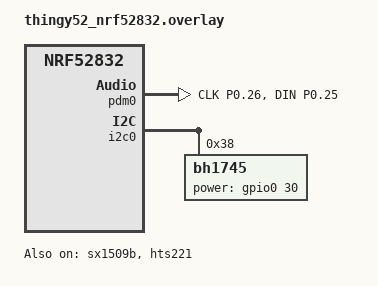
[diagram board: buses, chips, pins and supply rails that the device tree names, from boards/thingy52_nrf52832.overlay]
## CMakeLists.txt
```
# SPDX-License-Identifier: Apache-2.0

cmake_minimum_required(VERSION 3.20.0)
find_package(Zephyr REQUIRED HINTS $ENV{ZEPHYR_BASE})
project(thingy52_sensornode)

target_sources(app PRIVATE src/main.c)
```

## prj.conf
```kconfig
CONFIG_AUDIO=y
CONFIG_AUDIO_DMIC=y
CONFIG_AUDIO_DMIC_NRFX_PDM=y

CONFIG_GPIO=y

CONFIG_LOG=y
CONFIG_USE_SEGGER_RTT=y
CONFIG_RTT_CONSOLE=y
CONFIG_CONSOLE=y
CONFIG_LOG_BACKEND_RTT=y
CONFIG_PRINTK=y

CONFIG_BT=y
CONFIG_BT_CENTRAL=y
CONFIG_BT_SMP=n
CONFIG_BT_GATT_CLIENT=n

# Active scanning
CONFIG_BT_OBSERVER=y

# Enable broadcasting
CONFIG_BT_BROADCASTER=y

CONFIG_BT_MAX_CONN=1
CONFIG_BT_PERIPHERAL=y
CONFIG_BT_DEVICE_NAME="Thingy_node"

CONFIG_SENSOR=y
CONFIG_HTS221=y
CONFIG_I2C=y
```

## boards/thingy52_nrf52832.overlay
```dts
&pinctrl {
	pdm0_default_alt: pdm0_default_alt {
		group1 {
			psels = <NRF_PSEL(PDM_CLK, 0, 26)>,
				<NRF_PSEL(PDM_DIN, 0, 25)>;
		};
	};
};

dmic_dev: &pdm0 {
	status = "okay";
	pinctrl-0 = <&pdm0_default_alt>;
	pinctrl-names = "default";
};


&i2c0 {
    bh1745: bh1745@38 {
        reg = <0x38>;
        power-gpios = <&gpio0 30 GPIO_ACTIVE_HIGH>;
        label = "BH1745";
        status = "okay";
    };
};

&sx1509b {
    status = "okay";
};

&gpio0 {
    status = "okay";
};


&hts221 {
    status = "okay";
};



/ {
    aliases {
        temphum = &hts221;	
    };
};
```

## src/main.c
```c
/*
Clap detection using Thingy52 PDM mic
*/

#include <stdlib.h>
#include <math.h>
#include <zephyr/device.h>
#include <zephyr/kernel.h>
#include <zephyr/audio/dmic.h>
#include <zephyr/drivers/gpio.h>
#include <zephyr/logging/log.h>
#include <zephyr/bluetooth/bluetooth.h>
#include <zephyr/bluetooth/hci.h>
#include <zephyr/sys/byteorder.h>
#include <zephyr/drivers/sensor.h>
#include <zephyr/shell/shell.h>
#include <zephyr/drivers/i2c.h>
#include <zephyr/sys/printk.h>

LOG_MODULE_REGISTER(dmic_sample);

#define MAX_SAMPLE_RATE  16000
#define SAMPLE_BIT_WIDTH 16
#define BYTES_PER_SAMPLE sizeof(int16_t)
#define READ_TIMEOUT     1000

// alias for temp sensor
#define HTS221_NODE DT_ALIAS(temphum)
const struct device *hts221_dev = DEVICE_DT_GET(HTS221_NODE);

// Block size for DMIC
#define BLOCK_SIZE(_sample_rate, _number_of_channels) \
	(BYTES_PER_SAMPLE * (_sample_rate / 10) * _number_of_channels)

// Slabs for DMIC
#define MAX_BLOCK_SIZE   BLOCK_SIZE(MAX_SAMPLE_RATE, 2)
#define BLOCK_COUNT      4
K_MEM_SLAB_DEFINE_STATIC(mem_slab, MAX_BLOCK_SIZE, BLOCK_COUNT, 4);

#define LED0_NODE DT_ALIAS(led0)
// Set up LED for debugging
static const struct gpio_dt_spec led = GPIO_DT_SPEC_GET(LED0_NODE, gpios);

// BLE Advertising Thread
volatile int sensor_state = 1;             
volatile bool packet_received = false; 

// Constants for BLE
#define UUID_OFFSET 4
#define MAJOR_OFFSET 20
#define MINOR_OFFSET 22
#define TX_POWER_OFFSET 24
#define IBEACON_EXPECTED_LEN 25

// Constants for light sensor
#define I2C_ADDRESS 0x38
#define LIGHT_WHITE 0x56
#define LIGHT_SYS_CTRL 0x40
#define LIGHT_MODECTL1 0x41

const struct device *bh1745 = DEVICE_DT_GET(DT_NODELABEL(i2c0));

#define STACK_SIZE 2048
#define PRIORITY_CLAP 1
#define PRIORITY_TEMP 3
#define PRIORITY_BLE 3
#define PRIORITY_LIGHT 3

struct values {
	uint16_t temp;
	uint8_t clap;
	uint16_t light;
};

struct values shared_data = {0};
struct k_mutex data_lock;

K_THREAD_STACK_DEFINE(clap_stack, STACK_SIZE);
K_THREAD_STACK_DEFINE(temp_stack, STACK_SIZE);
K_THREAD_STACK_DEFINE(ble_stack, STACK_SIZE);
K_THREAD_STACK_DEFINE(light_stack, STACK_SIZE);

static struct k_thread clap_thread_data;
static struct k_thread temp_thread_data;
static struct k_thread ble_thread_data;
static struct k_thread light_thread_data;

static int do_pdm_transfer(const struct device *dmic_dev,
			   struct dmic_cfg *cfg,
			   size_t block_count)
{
	int ret;

	ret = dmic_configure(dmic_dev, cfg);
	if (ret < 0) {
		LOG_ERR("Failed to configure the driver: %d", ret);
		return ret;
	}

	ret = dmic_trigger(dmic_dev, DMIC_TRIGGER_START);
	if (ret < 0) {
		LOG_ERR("START trigger failed: %d", ret);
		return ret;
	}

	for (int i = 0; i < block_count; ++i) {
		void *buffer;
		uint32_t size;
		
		// Toggle LED for debugging
		//gpio_pin_toggle_dt(&led);

		// Read PDM values
		ret = dmic_read(dmic_dev, 0, &buffer, &size, READ_TIMEOUT);
		if (ret < 0) {
			LOG_ERR("%d - read failed: %d", i, ret);
			return ret;
		}

		// Toggle LED for debugging 
		//gpio_pin_toggle_dt(&led);

		// Convert PDM values to PCM values
		int16_t *samples = (int16_t *)buffer;
		size_t sample_count = size / sizeof(int16_t);

		// Detect clap
		for (size_t i = 0; i < sample_count; ++i) {
			if ((abs(samples[i]) > 10000) && (i != 32) && (i != 0)) {
				LOG_INF("Clap at sample %d", i);
				// update clap
				k_mutex_lock(&data_lock, K_FOREVER);
				if (shared_data.clap) {
					shared_data.clap = 0;
				} else {
					shared_data.clap = 1;
					printk("clapp detected and changed");
				}
				k_mutex_unlock(&data_lock);
				break;
			}
		}

		// Provide time for memory to be freed
		k_msleep(100);

		k_mem_slab_free(&mem_slab, buffer);
	}

	ret = dmic_trigger(dmic_dev, DMIC_TRIGGER_STOP);
	if (ret < 0) {
		LOG_ERR("STOP trigger failed: %d", ret);
		return ret;
	}

	return ret;
}

void read_temperature(struct values *data)
{
	struct sensor_value temp_val;

	if (!device_is_ready(hts221_dev)) {
		LOG_ERR("HTS221 temperature sensor not ready");
		return;
	}

	if (sensor_sample_fetch(hts221_dev) == 0 &&
		sensor_channel_get(hts221_dev, SENSOR_CHAN_AMBIENT_TEMP, &temp_val) == 0) {

		data->temp = (uint16_t)(sensor_value_to_double(&temp_val) * 100);
	}
}

static void advertise_thingy(struct values data) {
    uint8_t beacon_data[] = {
        0x4C, 0x00, 0x02, 0x15,                         // Apple iBeacon prefix
        0x19, 0xEE, 0x15, 0x16, 0x01, 0x6B, 0x4B, 0xEC, // UUID part 1 (example)
        0xAD, 0x96, 0xBC, 0xB9, 0x6D, 0x16, 0x6E, 0x97, // UUID part 2 (example)
        0x00, 0x00, 0x00, 0x00,                         // Major / Minor placeholder
        0xC8                                            // TX Power (example value)
    };

	printk("Packing BLE Data - Temp: %d, Clap Detected: %d\n",
       data.temp, data.clap);

	sys_put_be16(data.temp, &beacon_data[MAJOR_OFFSET]);
	sys_put_be16(data.clap, &beacon_data[MINOR_OFFSET]);
	beacon_data[TX_POWER_OFFSET] = (uint8_t)data.light;

    struct bt_data ad[] = {
        BT_DATA_BYTES(BT_DATA_FLAGS, BT_LE_AD_NO_BREDR),
        BT_DATA(BT_DATA_MANUFACTURER_DATA, beacon_data, sizeof(beacon_data)),
    };

    bt_le_adv_stop();
    int err = bt_le_adv_start(BT_LE_ADV_NCONN, ad, ARRAY_SIZE(ad), NULL, 0);

	if (err) {
		printk("Advertising failed: %d\n", err);
	} else {
		//printk("[ADVERTISING] iBeacon Payload (%d bytes): ", sizeof(beacon_data));
		// for (int i = 0; i < sizeof(beacon_data); i++) {
		// 	printk("%02X ", beacon_data[i]);
		// }
		printk("\n");
	}

	k_mutex_lock(&data_lock, K_FOREVER);
	shared_data.clap = 0;
	k_mutex_unlock(&data_lock);

    k_sleep(K_MSEC(70));
    bt_le_adv_stop();
}

static bool receive_nrf_sensor_state(struct bt_data *data, void *user_data) {
    static const uint8_t expected_uuid[16] = {
        0x18, 0xEE, 0x15, 0x16, 0x01, 0x6B, 0x4B, 0xEC,
        0xAD, 0x96, 0xBC, 0xB9, 0x6D, 0x16, 0x6E, 0x97
    };

    if (data->type != BT_DATA_MANUFACTURER_DATA || data->data_len < IBEACON_EXPECTED_LEN)
        return true;

    const uint8_t *payload = data->data;

    if (!(payload[0] == 0x4C && payload[1] == 0x00 && payload[2] == 0x02 && payload[3] == 0x15))
        return true;

    if (memcmp(&payload[4], expected_uuid, 16) != 0)
        return true;

    // A matching packet was received
    packet_received = true;

    // Update sensor_state from payload
    sensor_state = payload[MAJOR_OFFSET + 1];
    //printk("Received BLE packet. Sensor state: %d\n", sensor_state);
	// Toggle LED for debugging
	gpio_pin_toggle_dt(&led);

    return false;  // Stop parsing further
}



// Clap Detection Thread
void clap_thread_fn(void *dmic_dev_ptr, void *cfg_ptr, void *unused) {
    const struct device *dmic_dev = dmic_dev_ptr;
    struct dmic_cfg *cfg = cfg_ptr;

    while (1) {

        if (!(do_pdm_transfer(dmic_dev, cfg, BLOCK_COUNT) == 0)) {
			LOG_ERR("DMIC read failed");
        }

        k_msleep(10); // Sampling interval
    }
}

// Temperature Sensor Thread
void temp_thread_fn(void *arg1, void *arg2, void *arg3) {
    while (1) {
        struct values local = {0};
        read_temperature(&local);

        k_mutex_lock(&data_lock, K_FOREVER);
        //shared_data.temp = local.temp;
		//shared_data.temp += 1;
        k_mutex_unlock(&data_lock);

        k_sleep(K_SECONDS(5));  // Sample less frequently
    }
}

// Light Sensor Thread
void light_thread_fn(void *arg1, void *arg2, void *arg3) {
	int ret;
    while (1) {
		uint8_t buf[2];
		struct values local = {0};
    	ret = i2c_burst_read(bh1745, I2C_ADDRESS, LIGHT_WHITE, buf, 2);
		if (ret) {
			LOG_ERR("Failed to read light sensor");
		}

		// Lux of white light
		local.light = (buf[1] << 8) | buf[0];
        local.light = (uint8_t)(local.light * 0.4f);
		k_mutex_lock(&data_lock, K_FOREVER);
        shared_data.light = local.light;
        k_mutex_unlock(&data_lock);
		LOG_INF("Let there be light! %u", local.light);
        k_sleep(K_SECONDS(5));  // Sample less frequently
    }
}

static void device_found(const bt_addr_le_t *addr, int8_t rssi,
                         uint8_t type, struct net_buf_simple *ad) {
    bt_data_parse(ad, receive_nrf_sensor_state, NULL);
}



void ble_thread_fn(void *arg1, void *arg2, void *arg3) {
    struct bt_le_scan_param scan_params = {
        .type     = BT_LE_SCAN_TYPE_ACTIVE,
        .options  = BT_LE_SCAN_OPT_FILTER_DUPLICATE,
        .interval = 0x0060,
        .window   = 0x0030,
    };

    while (1) {
        packet_received = false;  // Reset before each scan cycle

        int err = bt_le_scan_start(&scan_params, device_found);
        if (err) {
            printk("Scan start failed: %d\n", err);
        } else {
            printk("Scanning...\n");
			
        }

        k_sleep(K_SECONDS(1));
        bt_le_scan_stop();

        if (sensor_state) {
            //printk("Advertising Thingy data (sensor_state = TRUE)\n");

            struct values copy;
            k_mutex_lock(&data_lock, K_FOREVER);
			shared_data.temp += 1;
            copy = shared_data;
            k_mutex_unlock(&data_lock);

            advertise_thingy(copy);
        } else {
            //printk("Not advertising (sensor_state = FALSE)\n");
        }

        k_sleep(K_SECONDS(1));
    }
}


int main(void)
{
	static const struct device *const dmic_dev = DEVICE_DT_GET(DT_NODELABEL(dmic_dev));
	int ret;

	// Initialise Bluetooth
    int err;
    err = bt_enable(NULL);
    if (err) {
        printk("Bluetooth init failed: %d\n", err);
        return 0;
    }
    printk("Bluetooth initialized\n");

	LOG_INF("DMIC sample");

	if (!device_is_ready(dmic_dev)) {
		LOG_ERR("%s is not ready", dmic_dev->name);
		return 0;
	}

	ret = gpio_pin_configure_dt(&led, GPIO_OUTPUT_ACTIVE);
	if (ret < 0) {
		return 0;
	}

	// checks temp sensor readiness
	if (!device_is_ready(hts221_dev)) {
	LOG_ERR("HTS221 temperature sensor not ready");
	return 0;
	}

	// Manually turn on powr to mic
	const struct device *const expander = DEVICE_DT_GET(DT_NODELABEL(sx1509b));
	if (!device_is_ready(expander)) {
		LOG_ERR("%s is not ready", expander->name);
		return 0;
	}
	gpio_pin_configure(expander, 9, GPIO_OUTPUT_ACTIVE);
	gpio_pin_set(expander, 9, 1);

	static struct pcm_stream_cfg stream = {
		.pcm_width = SAMPLE_BIT_WIDTH,
		.mem_slab  = &mem_slab,
	};

	// Configure clocks for mic
	static struct dmic_cfg cfg = {
		.io = {
			.min_pdm_clk_freq = 1000000,
			.max_pdm_clk_freq = 3250000,
			.min_pdm_clk_dc   = 40,
			.max_pdm_clk_dc   = 60,
		},
		.streams = &stream,
		.channel = {
			.req_num_streams = 1,
		},
	};

	cfg.channel.req_num_chan = 1;
	cfg.channel.req_chan_map_lo =
		dmic_build_channel_map(0, 0, PDM_CHAN_LEFT);
	cfg.streams[0].pcm_rate = MAX_SAMPLE_RATE;
	cfg.streams[0].block_size =
		BLOCK_SIZE(cfg.streams[0].pcm_rate, cfg.channel.req_num_chan);
	

	// Initialise the light sensor
	if (!device_is_ready(bh1745)) {
		LOG_ERR("%s is not ready", dmic_dev->name);
		return 0;
	}

	// Configure directly with I2C
	uint8_t buf[2];
	buf[0] = LIGHT_SYS_CTRL;
	buf[1] = 0x80;
	i2c_write(bh1745, buf, 2, I2C_ADDRESS);
	k_msleep(2);
	buf[0] = LIGHT_SYS_CTRL;
	buf[1] = 0x00;
    i2c_write(bh1745, buf, 2, I2C_ADDRESS);

	uint8_t config[] = {LIGHT_MODECTL1, 0x00,
                     0x10,
                     0x02};
    i2c_write(bh1745, config, sizeof(cfg), I2C_ADDRESS);

	k_mutex_init(&data_lock);

	// Start threads
	k_thread_create(&clap_thread_data, clap_stack, STACK_SIZE,
					clap_thread_fn, (void *)dmic_dev, (void *)&cfg, NULL,
					PRIORITY_CLAP, 0, K_NO_WAIT);

	k_thread_create(&temp_thread_data, temp_stack, STACK_SIZE,
					temp_thread_fn, NULL, NULL, NULL,
					PRIORITY_TEMP, 0, K_NO_WAIT);

	k_thread_create(&light_thread_data, light_stack, STACK_SIZE, 
					light_thread_fn, NULL, NULL, NULL, 
					PRIORITY_LIGHT, 0, K_NO_WAIT);

	k_thread_create(&ble_thread_data, ble_stack, STACK_SIZE,
					ble_thread_fn, NULL, NULL, NULL,
					PRIORITY_BLE, 0, K_NO_WAIT);

	LOG_INF("Exiting");
	return 0;
}



// int main(void)
// {
	

// 	const struct device *const dmic_dev = DEVICE_DT_GET(DT_NODELABEL(dmic_dev));
// 	int ret;

// 	// Initialise Bluetooth
//     int err;
//     err = bt_enable(NULL);
//     if (err) {
//         printk("Bluetooth init failed: %d\n", err);
//         return 0;
//     }
//     printk("Bluetooth initialized\n");

// 	LOG_INF("DMIC sample");

// 	if (!device_is_ready(dmic_dev)) {
// 		LOG_ERR("%s is not ready", dmic_dev->name);
// 		return 0;
// 	}

// 	ret = gpio_pin_configure_dt(&led, GPIO_OUTPUT_ACTIVE);
// 	if (ret < 0) {
// 		return 0;
// 	}

// 	// checks temp sensor readiness
// 	if (!device_is_ready(hts221_dev)) {
// 	LOG_ERR("HTS221 temperature sensor not ready");
// 	return 0;
// 	}

// 	// Manually turn on powr to mic
// 	const struct device *const expander = DEVICE_DT_GET(DT_NODELABEL(sx1509b));
// 	if (!device_is_ready(expander)) {
// 		LOG_ERR("%s is not ready", expander->name);
// 		return 0;
// 	}
// 	gpio_pin_configure(expander, 9, GPIO_OUTPUT_ACTIVE);
// 	gpio_pin_set(expander, 9, 1);

// 	struct pcm_stream_cfg stream = {
// 		.pcm_width = SAMPLE_BIT_WIDTH,
// 		.mem_slab  = &mem_slab,
// 	};
// 	struct dmic_cfg cfg = {
// 		.io = {
// 			/* These fields can be used to limit the PDM clock
// 			 * configurations that the driver is allowed to use
// 			 * to those supported by the microphone.
// 			*/
// 			.min_pdm_clk_freq = 1000000,
// 			.max_pdm_clk_freq = 3250000,
// 			.min_pdm_clk_dc   = 40,
// 			.max_pdm_clk_dc   = 60,
// 		},
// 		.streams = &stream,
// 		.channel = {
// 			.req_num_streams = 1,
// 		},
// 	};

// 	cfg.channel.req_num_chan = 1;
// 	cfg.channel.req_chan_map_lo =
// 		dmic_build_channel_map(0, 0, PDM_CHAN_LEFT);
// 	cfg.streams[0].pcm_rate = MAX_SAMPLE_RATE;
// 	cfg.streams[0].block_size =
// 		BLOCK_SIZE(cfg.streams[0].pcm_rate, cfg.channel.req_num_chan);

// 	while (1) {
		
		

// 		struct values data = {0}; // Reset sensor values

// 		// Read temperature and light into struct
// 		read_temperature(&data);
// 		// Detect claps and update struct
// 		ret = do_pdm_transfer(dmic_dev, &cfg, BLOCK_COUNT, &data);
// 		if (ret < 0) {
// 			return 0;
// 		}

// 		// Send over BLE
// 		advertise_thingy(data);

// 		k_sleep(K_SECONDS(5));
// 	}

// 	LOG_INF("Exiting");
// 	return 0;
// }
```
